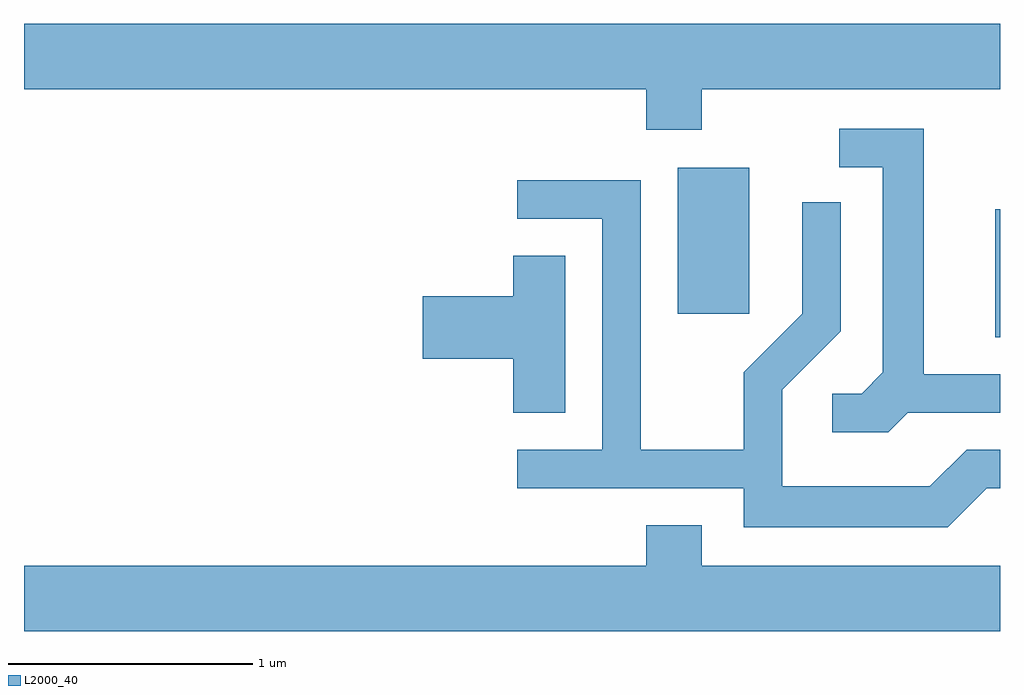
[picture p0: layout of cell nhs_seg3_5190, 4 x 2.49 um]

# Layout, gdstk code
import gdstk
lib = gdstk.Library(unit=1e-6, precision=1e-09)
def R(c, l, rs):  # rectangles x0, y0, x1, y1
    for r in rs: c.add(gdstk.rectangle(r[:2], r[2:], *l))
def P(c, l, *ps):  # polygons
    for p in ps: c.add(gdstk.Polygon(p, *l))
L2000_40 = (2000, 40)

nhs_seg3_5190 = lib.new_cell('nhs_seg3_5190')
R(nhs_seg3_5190, L2000_40, [(341.591,1169.401,341.611,1169.924), (340.291,1169.496,340.584,1170.094)])
P(nhs_seg3_5190, L2000_40, [(340.389,1170.416),(341.611,1170.416),(341.611,1170.684),(337.611,1170.684),(337.611,1170.416),(340.161,1170.416),(340.161,1170.251),(340.389,1170.251)],
  [(341.232,1169.091),(341.611,1169.091),(341.611,1169.249),(341.299,1169.249),(341.299,1170.254),(340.953,1170.254),(340.953,1170.096),(341.131,1170.096),(341.131,1169.257),(341.044,1169.169),(340.923,1169.169),(340.923,1169.011),(341.152,1169.011)],
  [(341.557,1168.781),(341.611,1168.781),(341.611,1168.939),(341.474,1168.939),(341.324,1168.789),(340.719,1168.789),(340.719,1169.184),(340.959,1169.424),(340.959,1169.953),(340.801,1169.953),(340.801,1169.497),(340.561,1169.257),(340.561,1168.939),(340.139,1168.939),(340.139,1170.044),(339.633,1170.044),(339.633,1169.886),(339.981,1169.886),(339.981,1168.939),(339.633,1168.939),(339.633,1168.781),(340.561,1168.781),(340.561,1168.621),(341.397,1168.621)],
  [(339.829,1169.734),(339.616,1169.734),(339.616,1169.569),(339.246,1169.569),(339.246,1169.311),(339.616,1169.311),(339.616,1169.091),(339.829,1169.091)],
  [(341.611,1168.464),(340.389,1168.464),(340.389,1168.629),(340.161,1168.629),(340.161,1168.464),(337.611,1168.464),(337.611,1168.196),(341.611,1168.196)])

lib.write_gds('nhs_seg3_5190.gds')
